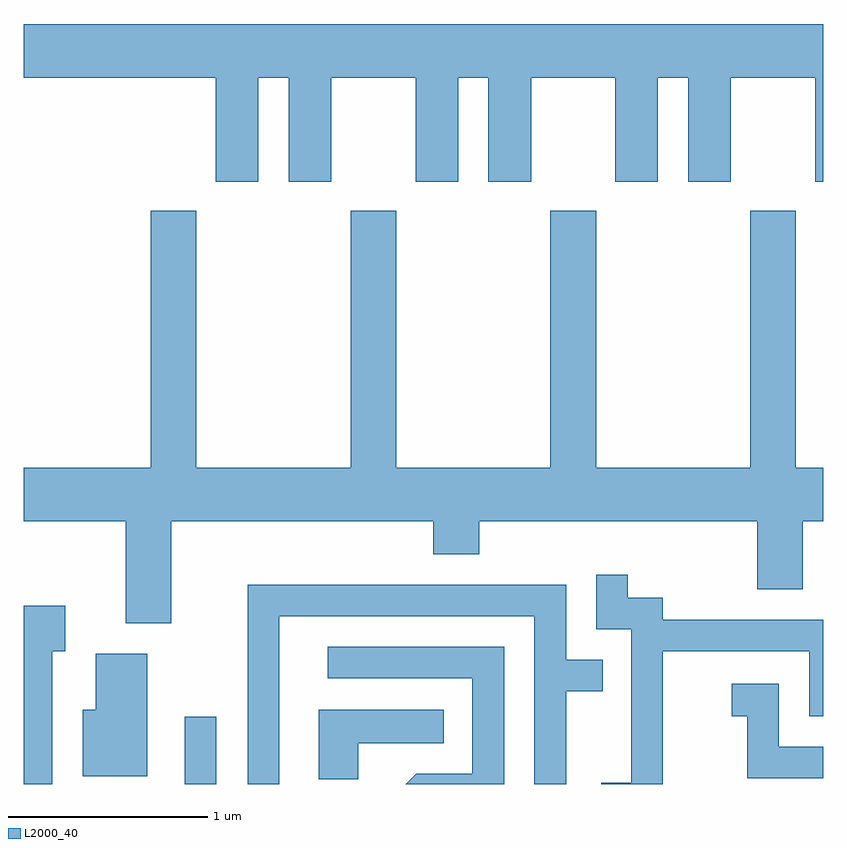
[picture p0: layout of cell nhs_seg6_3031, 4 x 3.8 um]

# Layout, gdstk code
import gdstk
lib = gdstk.Library(unit=1e-6, precision=1e-09)
def R(c, l, rs):  # rectangles x0, y0, x1, y1
    for r in rs: c.add(gdstk.rectangle(r[:2], r[2:], *l))
def P(c, l, *ps):  # polygons
    for p in ps: c.add(gdstk.Polygon(p, *l))
L2000_40 = (2000, 40)

nhs_seg6_3031 = lib.new_cell('nhs_seg6_3031')
R(nhs_seg6_3031, L2000_40, [(276.416,1664.162,276.574,1664.498)])
P(nhs_seg6_3031, L2000_40, [(276.784,1667.696),(276.936,1667.696),(276.936,1667.176),(277.149,1667.176),(277.149,1667.696),(277.571,1667.696),(277.571,1667.176),(277.784,1667.176),(277.784,1667.696),(277.936,1667.696),(277.936,1667.176),(278.149,1667.176),(278.149,1667.696),(278.571,1667.696),(278.571,1667.176),(278.784,1667.176),(278.784,1667.696),(278.936,1667.696),(278.936,1667.176),(279.149,1667.176),(279.149,1667.696),(279.571,1667.696),(279.571,1667.176),(279.611,1667.176),(279.611,1667.964),(275.611,1667.964),(275.611,1667.696),(276.571,1667.696),(276.571,1667.176),(276.784,1667.176)],
  [(277.474,1667.029),(277.246,1667.029),(277.246,1665.744),(276.474,1665.744),(276.474,1667.029),(276.246,1667.029),(276.246,1665.744),(275.611,1665.744),(275.611,1665.476),(276.121,1665.476),(276.121,1664.966),(276.349,1664.966),(276.349,1665.476),(277.661,1665.476),(277.661,1665.311),(277.889,1665.311),(277.889,1665.476),(279.281,1665.476),(279.281,1665.136),(279.509,1665.136),(279.509,1665.476),(279.611,1665.476),(279.611,1665.744),(279.474,1665.744),(279.474,1667.029),(279.246,1667.029),(279.246,1665.744),(278.474,1665.744),(278.474,1667.029),(278.246,1667.029),(278.246,1665.744),(277.474,1665.744)],
  [(278.809,1664.826),(279.541,1664.826),(279.541,1664.501),(279.611,1664.501),(279.611,1664.984),(278.809,1664.984),(278.809,1665.094),(278.634,1665.094),(278.634,1665.208),(278.476,1665.208),(278.476,1664.936),(278.651,1664.936),(278.651,1664.169),(278.501,1664.169),(278.501,1664.162),(278.809,1664.162)],
  [(276.889,1665.001),(278.166,1665.001),(278.166,1664.162),(278.324,1664.162),(278.324,1664.626),(278.508,1664.626),(278.508,1664.784),(278.324,1664.784),(278.324,1665.159),(276.731,1665.159),(276.731,1664.162),(276.889,1664.162)],
  [(275.754,1664.826),(275.819,1664.826),(275.819,1665.054),(275.611,1665.054),(275.611,1664.162),(275.754,1664.162)],
  [(278.014,1664.849),(277.133,1664.849),(277.133,1664.691),(277.856,1664.691),(277.856,1664.214),(277.574,1664.214),(277.522,1664.162),(278.014,1664.162)],
  [(276.229,1664.814),(275.971,1664.814),(275.971,1664.534),(275.906,1664.534),(275.906,1664.201),(276.229,1664.201)],
  [(279.611,1664.349),(279.389,1664.349),(279.389,1664.664),(279.153,1664.664),(279.153,1664.501),(279.231,1664.501),(279.231,1664.191),(279.611,1664.191)],
  [(277.284,1664.366),(277.713,1664.366),(277.713,1664.534),(277.086,1664.534),(277.086,1664.186),(277.284,1664.186)])

lib.write_gds('nhs_seg6_3031.gds')
